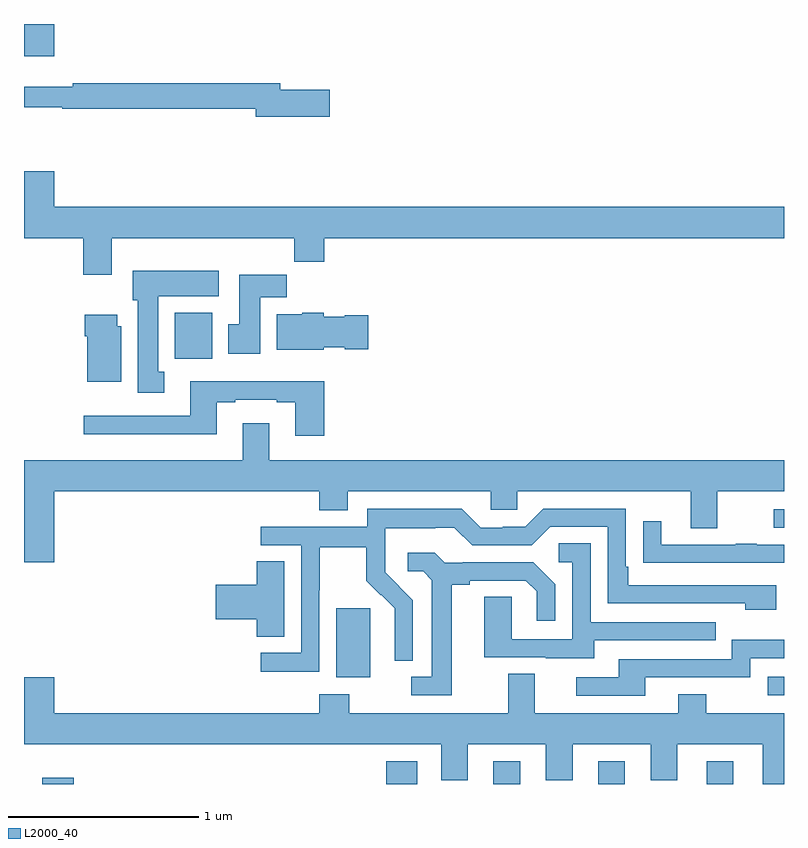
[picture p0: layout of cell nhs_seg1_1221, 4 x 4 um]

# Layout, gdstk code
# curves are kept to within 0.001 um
import gdstk
lib = gdstk.Library(unit=1e-6, precision=1e-09)
def R(c, l, rs):  # rectangles x0, y0, x1, y1
    for r in rs: c.add(gdstk.rectangle(r[:2], r[2:], *l))
def P(c, l, *ps):  # polygons
    for p in ps: c.add(gdstk.Polygon(p, *l))
L2000_40 = (2000, 40)

nhs_seg1_1221 = lib.new_cell('nhs_seg1_1221')
R(nhs_seg1_1221, L2000_40, [(177.095,542.199,177.263,542.233), (178.907,542.199,179.071,542.32), (179.471,542.199,179.611,542.32), (180.023,542.199,180.163,542.32), (180.593,542.199,180.733,542.32), (180.915,542.667,181,542.763), (178.643,542.762,178.822,543.123), (180.945,543.549,181,543.645), (177.794,544.436,177.991,544.678), (177,546.03,177.16,546.199)])
P(nhs_seg1_1221, L2000_40, [(178.609,545.852),(178.348,545.852),(178.348,545.888),(177.256,545.888),(177.256,545.869),(177,545.869),(177,545.76),(177.202,545.76),(177.202,545.752),(178.22,545.752),(178.22,545.71),(178.609,545.71)],
  [(177.463,545.072),(178.423,545.072),(178.423,544.948),(178.58,544.948),(178.58,545.072),(181,545.072),(181,545.236),(177.16,545.236),(177.16,545.425),(177,545.425),(177,545.072),(177.311,545.072),(177.311,544.878),(177.463,544.878)],
  [(177.739,544.37),(177.706,544.37),(177.706,544.766),(178.024,544.766),(178.024,544.9),(177.572,544.9),(177.572,544.746),(177.599,544.746),(177.599,544.257),(177.739,544.257)],
  [(178.243,544.76),(178.382,544.76),(178.382,544.879),(178.133,544.879),(178.133,544.62),(178.076,544.62),(178.076,544.464),(178.243,544.464)],
  [(178.578,544.499),(178.689,544.499),(178.689,544.487),(178.813,544.487),(178.813,544.665),(178.689,544.665),(178.689,544.657),(178.578,544.657),(178.578,544.678),(178.464,544.678),(178.464,544.672),(178.331,544.672),(178.331,544.484),(178.578,544.484)],
  [(177.511,544.608),(177.49,544.608),(177.49,544.669),(177.32,544.669),(177.32,544.556),(177.332,544.556),(177.332,544.316),(177.511,544.316)],
  [(178.58,544.318),(177.875,544.318),(177.875,544.137),(177.315,544.137),(177.315,544.04),(178.015,544.04),(178.015,544.209),(178.111,544.209),(178.111,544.221),(178.331,544.221),(178.331,544.209),(178.427,544.209),(178.427,544.032),(178.58,544.032)],
  [(177.16,543.74),(178.553,543.74),(178.553,543.641),(178.705,543.641),(178.705,543.74),(179.457,543.74),(179.457,543.642),(179.595,543.642),(179.595,543.74),(180.509,543.74),(180.509,543.546),(180.649,543.546),(180.649,543.74),(181,543.74),(181,543.904),(178.291,543.904),(178.291,544.099),(178.151,544.099),(178.151,543.904),(177,543.904),(177,543.366),(177.16,543.366)],
  [(178.554,543.22),(178.557,543.22),(178.557,543.444),(178.801,543.444),(178.801,543.269),(178.878,543.192),(178.881,543.195),(178.952,543.125),(178.952,543.002),(178.95,543.002),(178.95,542.848),(179.046,542.848),(179.046,543.166),(178.9,543.314),(178.9,543.411),(178.902,543.411),(178.902,543.545),(179.165,543.545),(179.165,543.549),(179.265,543.549),(179.358,543.456),(179.673,543.456),(179.769,543.552),(180.072,543.552),(180.072,543.15),(180.797,543.15),(180.797,543.116),(180.958,543.116),(180.958,543.246),(180.181,543.246),(180.181,543.343),(180.168,543.343),(180.168,543.648),(179.733,543.648),(179.637,543.552),(179.519,543.552),(179.519,543.549),(179.403,543.549),(179.303,543.649),(178.806,543.649),(178.806,543.552),(178.245,543.552),(178.245,543.456),(178.458,543.456),(178.458,542.889),(178.245,542.889),(178.245,542.791),(178.554,542.791)],
  [(181,543.459),(180.857,543.459),(180.857,543.464),(180.745,543.464),(180.745,543.459),(180.355,543.459),(180.355,543.583),(180.259,543.583),(180.259,543.364),(180.361,543.364),(180.361,543.363),(181,543.363)],
  [(180.001,542.955),(180.641,542.955),(180.641,543.051),(179.982,543.051),(179.982,543.467),(179.814,543.467),(179.814,543.366),(179.886,543.366),(179.886,542.961),(179.568,542.961),(179.568,543.185),(179.423,543.185),(179.423,542.865),(179.747,542.865),(179.747,542.861),(180.001,542.861)],
  [(179.251,543.248),(179.347,543.248),(179.347,543.27),(179.642,543.27),(179.699,543.213),(179.699,543.057),(179.796,543.057),(179.796,543.25),(179.68,543.366),(179.308,543.366),(179.308,543.363),(179.214,543.363),(179.162,543.415),(179.019,543.415),(179.019,543.318),(179.1,543.318),(179.147,543.271),(179.147,542.763),(179.037,542.763),(179.037,542.667),(179.251,542.667)],
  [(178.369,543.371),(178.226,543.371),(178.226,543.248),(178.008,543.248),(178.008,543.065),(178.226,543.065),(178.226,542.974),(178.369,542.974)],
  [(180.271,542.76),(180.822,542.76),(180.822,542.862),(181,542.862),(181,542.959),(180.726,542.959),(180.726,542.856),(180.131,542.856),(180.131,542.76),(179.907,542.76),(179.907,542.664),(180.271,542.664)],
  [(179.195,542.218),(179.335,542.218),(179.335,542.408),(179.747,542.408),(179.747,542.218),(179.887,542.218),(179.887,542.408),(180.299,542.408),(180.299,542.218),(180.438,542.218),(180.438,542.408),(180.887,542.408),(180.887,542.199),(181,542.199),(181,542.572),(180.591,542.572),(180.591,542.671),(180.443,542.671),(180.443,542.572),(179.689,542.572),(179.689,542.78),(179.549,542.78),(179.549,542.572),(178.713,542.572),(178.713,542.671),(178.553,542.671),(178.553,542.572),(177.16,542.572),(177.16,542.761),(177,542.761),(177,542.408),(179.195,542.408)])

lib.write_gds('nhs_seg1_1221.gds')
